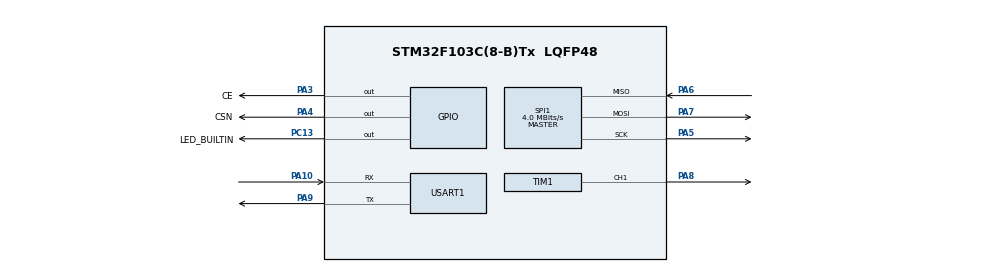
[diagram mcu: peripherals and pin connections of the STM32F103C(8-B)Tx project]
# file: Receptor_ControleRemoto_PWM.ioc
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Mcu.Family=STM32F1
Mcu.Name=STM32F103C(8-B)Tx
Mcu.Package=LQFP48
NVIC.PriorityGroup=NVIC_PRIORITYGROUP_4
PA10.Mode=Asynchronous
PA10.Signal=USART1_RX
PA13.Mode=Serial_Wire
PA13.Signal=SYS_JTMS-SWDIO
PA14.Mode=Serial_Wire
PA14.Signal=SYS_JTCK-SWCLK
PA3.GPIO_Label=CE
PA3.Signal=GPIO_Output
PA4.GPIO_Label=CSN
PA4.Signal=GPIO_Output
PA5.Mode=Full_Duplex_Master
PA5.Signal=SPI1_SCK
PA6.Mode=Full_Duplex_Master
PA6.Signal=SPI1_MISO
PA7.Mode=Full_Duplex_Master
PA7.Signal=SPI1_MOSI
PA8.Signal=S_TIM1_CH1
PA9.Mode=Asynchronous
PA9.Signal=USART1_TX
PC13-TAMPER-RTC.GPIO_Label=LED_BUILTIN
PC13-TAMPER-RTC.Signal=GPIO_Output
PD0-OSC_IN.Mode=HSE-External-Oscillator
PD0-OSC_IN.Signal=RCC_OSC_IN
PD1-OSC_OUT.Mode=HSE-External-Oscillator
PD1-OSC_OUT.Signal=RCC_OSC_OUT
ProjectManager.HeapSize=0x200
ProjectManager.StackSize=0x400
ProjectManager.TargetToolchain=STM32CubeIDE
RCC.APB1Freq_Value=8000000
RCC.APB2Freq_Value=8000000
SH.S_TIM1_CH1.0=TIM1_CH1,PWM Generation1 CH1
SPI1.BaudRatePrescaler=SPI_BAUDRATEPRESCALER_2
SPI1.CalculateBaudRate=4.0 MBits/s
SPI1.Direction=SPI_DIRECTION_2LINES
SPI1.Mode=SPI_MODE_MASTER
SPI1.VirtualType=VM_MASTER
TIM1.Channel-PWM\ Generation1\ CH1=TIM_CHANNEL_1
TIM1.Prescaler=8-1
USART1.VirtualMode=VM_ASYNC
board=custom

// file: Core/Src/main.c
/* USER CODE BEGIN Header */
/**
  ******************************************************************************
  * @file           : main.c
  * @brief          : Main program body
  ******************************************************************************
  * @attention
  *
  * Copyright (c) 2025 STMicroelectronics.
  * All rights reserved.
  *
  * This software is licensed under terms that can be found in the LICENSE file
  * in the root directory of this software component.
  * If no LICENSE file comes with this software, it is provided AS-IS.
  *
  ******************************************************************************
  */
/* USER CODE END Header */
#include "main.h"

/* USER CODE BEGIN Includes */

#include "NRF24L01.h"
#include <stdio.h>
#include <string.h>

/* USER CODE END Includes */

/* USER CODE BEGIN PTD */
/*
long map(long value, long fromLow, long fromHigh, long toLow, long toHigh) {
  return (value - fromLow) * (toHigh - toLow) / (fromHigh - fromLow) + toLow;
}*/

/* USER CODE END PTD */

SPI_HandleTypeDef hspi1;

TIM_HandleTypeDef htim1;

UART_HandleTypeDef huart1;

/* USER CODE BEGIN PV */

NRF24_HandleTypeDef nrf;

uint8_t data_received = -1;
uint8_t ok = -1;

/* USER CODE END PV */

void SystemClock_Config(void);
static void MX_GPIO_Init(void);
static void MX_SPI1_Init(void);
static void MX_TIM1_Init(void);
static void MX_USART1_UART_Init(void);

int main(void)
{

  /* MCU Configuration--------------------------------------------------------*/

  /* Reset of all peripherals, Initializes the Flash interface and the Systick. */
  HAL_Init();

  /* Configure the system clock */
  SystemClock_Config();

  /* Initialize all configured peripherals */
  MX_GPIO_Init();
  MX_SPI1_Init();
  MX_TIM1_Init();
  MX_USART1_UART_Init();
  /* USER CODE BEGIN 2 */

	nrf.hspi = &hspi1;
	nrf.CE_port = CE_GPIO_Port; nrf.CE_pin = CE_Pin;
	nrf.CSN_port = CSN_GPIO_Port; nrf.CSN_pin = CSN_Pin;

	NRF24_Init_RX(&nrf);
	/*HAL_TIM_PWM_Start(&htim1, TIM_CHANNEL_1);*/

  /* USER CODE END 2 */

  /* Infinite loop */
  while (1)
  {

    /* USER CODE BEGIN 3 */

	  ok = NRF24_Receive(&nrf, &data_received, sizeof(data_received));
	  	  	  	  	   NRF24_DebugLED(LED_BUILTIN_GPIO_Port, LED_BUILTIN_Pin, ok);
	  	  	  	  	   HAL_Delay(1000);

	 char msg[100];  // buffer para armazenar a string formatada

	 // Mostra se recebeu ou não
	 sprintf(msg, "OK: %d | Data Received: %d \r\n", ok, data_received);
	 HAL_UART_Transmit(&huart1, (uint8_t*)msg, strlen(msg), HAL_MAX_DELAY);

	  	  /*dc = map(data_received, 0, 4095, 0, 500);
	  	  TIM1->CCR1=dc;*/
  }
  /* USER CODE END 3 */
}

void SystemClock_Config(void)
{
  RCC_OscInitTypeDef RCC_OscInitStruct = {0};
  RCC_ClkInitTypeDef RCC_ClkInitStruct = {0};

  /** Initializes the RCC Oscillators according to the specified parameters
  * in the RCC_OscInitTypeDef structure.
  */
  RCC_OscInitStruct.OscillatorType = RCC_OSCILLATORTYPE_HSI;
  RCC_OscInitStruct.HSIState = RCC_HSI_ON;
  RCC_OscInitStruct.HSICalibrationValue = RCC_HSICALIBRATION_DEFAULT;
  RCC_OscInitStruct.PLL.PLLState = RCC_PLL_NONE;
  if (HAL_RCC_OscConfig(&RCC_OscInitStruct) != HAL_OK)
  {
    Error_Handler();
  }

  /** Initializes the CPU, AHB and APB buses clocks
  */
  RCC_ClkInitStruct.ClockType = RCC_CLOCKTYPE_HCLK|RCC_CLOCKTYPE_SYSCLK
                              |RCC_CLOCKTYPE_PCLK1|RCC_CLOCKTYPE_PCLK2;
  RCC_ClkInitStruct.SYSCLKSource = RCC_SYSCLKSOURCE_HSI;
  RCC_ClkInitStruct.AHBCLKDivider = RCC_SYSCLK_DIV1;
  RCC_ClkInitStruct.APB1CLKDivider = RCC_HCLK_DIV1;
  RCC_ClkInitStruct.APB2CLKDivider = RCC_HCLK_DIV1;

  if (HAL_RCC_ClockConfig(&RCC_ClkInitStruct, FLASH_LATENCY_0) != HAL_OK)
  {
    Error_Handler();
  }
}

static void MX_SPI1_Init(void)
{

  /* SPI1 parameter configuration*/
  hspi1.Instance = SPI1;
  hspi1.Init.Mode = SPI_MODE_MASTER;
  hspi1.Init.Direction = SPI_DIRECTION_2LINES;
  hspi1.Init.DataSize = SPI_DATASIZE_8BIT;
  hspi1.Init.CLKPolarity = SPI_POLARITY_LOW;
  hspi1.Init.CLKPhase = SPI_PHASE_1EDGE;
  hspi1.Init.NSS = SPI_NSS_SOFT;
  hspi1.Init.BaudRatePrescaler = SPI_BAUDRATEPRESCALER_2;
  hspi1.Init.FirstBit = SPI_FIRSTBIT_MSB;
  hspi1.Init.TIMode = SPI_TIMODE_DISABLE;
  hspi1.Init.CRCCalculation = SPI_CRCCALCULATION_DISABLE;
  hspi1.Init.CRCPolynomial = 10;
  if (HAL_SPI_Init(&hspi1) != HAL_OK)
  {
    Error_Handler();
  }

}

static void MX_TIM1_Init(void)
{

  TIM_MasterConfigTypeDef sMasterConfig = {0};
  TIM_OC_InitTypeDef sConfigOC = {0};
  TIM_BreakDeadTimeConfigTypeDef sBreakDeadTimeConfig = {0};

  htim1.Instance = TIM1;
  htim1.Init.Prescaler = 8-1;
  htim1.Init.CounterMode = TIM_COUNTERMODE_UP;
  htim1.Init.Period = 65535;
  htim1.Init.ClockDivision = TIM_CLOCKDIVISION_DIV1;
  htim1.Init.RepetitionCounter = 0;
  htim1.Init.AutoReloadPreload = TIM_AUTORELOAD_PRELOAD_DISABLE;
  if (HAL_TIM_PWM_Init(&htim1) != HAL_OK)
  {
    Error_Handler();
  }
  sMasterConfig.MasterOutputTrigger = TIM_TRGO_RESET;
  sMasterConfig.MasterSlaveMode = TIM_MASTERSLAVEMODE_DISABLE;
  if (HAL_TIMEx_MasterConfigSynchronization(&htim1, &sMasterConfig) != HAL_OK)
  {
    Error_Handler();
  }
  sConfigOC.OCMode = TIM_OCMODE_PWM1;
  sConfigOC.Pulse = 0;
  sConfigOC.OCPolarity = TIM_OCPOLARITY_HIGH;
  sConfigOC.OCNPolarity = TIM_OCNPOLARITY_HIGH;
  sConfigOC.OCFastMode = TIM_OCFAST_DISABLE;
  sConfigOC.OCIdleState = TIM_OCIDLESTATE_RESET;
  sConfigOC.OCNIdleState = TIM_OCNIDLESTATE_RESET;
  if (HAL_TIM_PWM_ConfigChannel(&htim1, &sConfigOC, TIM_CHANNEL_1) != HAL_OK)
  {
    Error_Handler();
  }
  sBreakDeadTimeConfig.OffStateRunMode = TIM_OSSR_DISABLE;
  sBreakDeadTimeConfig.OffStateIDLEMode = TIM_OSSI_DISABLE;
  sBreakDeadTimeConfig.LockLevel = TIM_LOCKLEVEL_OFF;
  sBreakDeadTimeConfig.DeadTime = 0;
  sBreakDeadTimeConfig.BreakState = TIM_BREAK_DISABLE;
  sBreakDeadTimeConfig.BreakPolarity = TIM_BREAKPOLARITY_HIGH;
  sBreakDeadTimeConfig.AutomaticOutput = TIM_AUTOMATICOUTPUT_DISABLE;
  if (HAL_TIMEx_ConfigBreakDeadTime(&htim1, &sBreakDeadTimeConfig) != HAL_OK)
  {
    Error_Handler();
  }
  HAL_TIM_MspPostInit(&htim1);

}

static void MX_USART1_UART_Init(void)
{

  huart1.Instance = USART1;
  huart1.Init.BaudRate = 115200;
  huart1.Init.WordLength = UART_WORDLENGTH_8B;
  huart1.Init.StopBits = UART_STOPBITS_1;
  huart1.Init.Parity = UART_PARITY_NONE;
  huart1.Init.Mode = UART_MODE_TX_RX;
  huart1.Init.HwFlowCtl = UART_HWCONTROL_NONE;
  huart1.Init.OverSampling = UART_OVERSAMPLING_16;
  if (HAL_UART_Init(&huart1) != HAL_OK)
  {
    Error_Handler();
  }

}

static void MX_GPIO_Init(void)
{
  GPIO_InitTypeDef GPIO_InitStruct = {0};

  /* GPIO Ports Clock Enable */
  __HAL_RCC_GPIOC_CLK_ENABLE();
  __HAL_RCC_GPIOD_CLK_ENABLE();
  __HAL_RCC_GPIOA_CLK_ENABLE();

  /*Configure GPIO pin Output Level */
  HAL_GPIO_WritePin(LED_BUILTIN_GPIO_Port, LED_BUILTIN_Pin, GPIO_PIN_RESET);

  /*Configure GPIO pin Output Level */
  HAL_GPIO_WritePin(GPIOA, CE_Pin|CSN_Pin, GPIO_PIN_RESET);

  /*Configure GPIO pin : LED_BUILTIN_Pin */
  GPIO_InitStruct.Pin = LED_BUILTIN_Pin;
  GPIO_InitStruct.Mode = GPIO_MODE_OUTPUT_PP;
  GPIO_InitStruct.Pull = GPIO_NOPULL;
  GPIO_InitStruct.Speed = GPIO_SPEED_FREQ_LOW;
  HAL_GPIO_Init(LED_BUILTIN_GPIO_Port, &GPIO_InitStruct);

  /*Configure GPIO pins : CE_Pin CSN_Pin */
  GPIO_InitStruct.Pin = CE_Pin|CSN_Pin;
  GPIO_InitStruct.Mode = GPIO_MODE_OUTPUT_PP;
  GPIO_InitStruct.Pull = GPIO_NOPULL;
  GPIO_InitStruct.Speed = GPIO_SPEED_FREQ_LOW;
  HAL_GPIO_Init(GPIOA, &GPIO_InitStruct);

}

void Error_Handler(void)
{
  __disable_irq();
  while (1)
  {
  }
}
